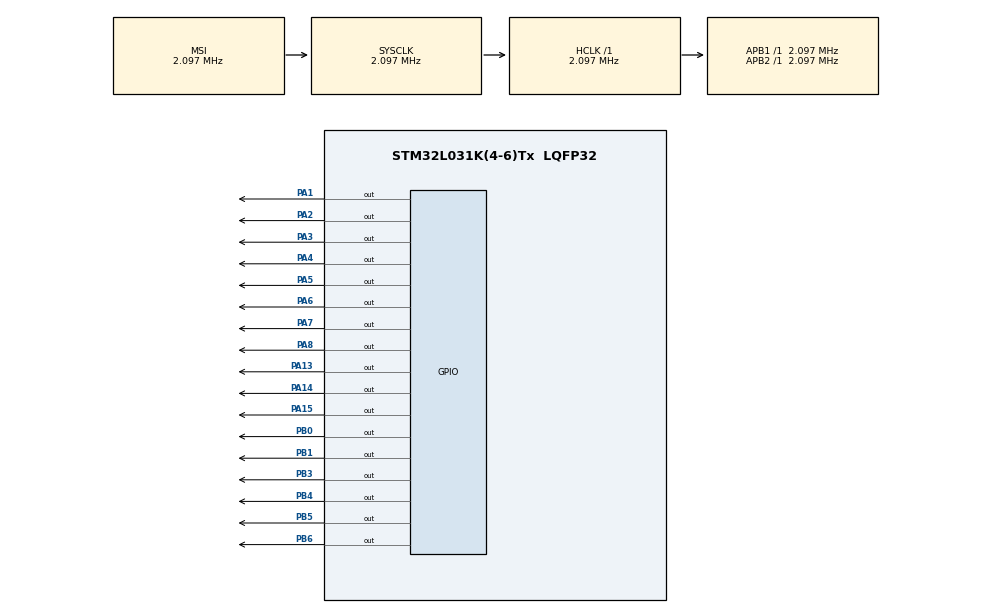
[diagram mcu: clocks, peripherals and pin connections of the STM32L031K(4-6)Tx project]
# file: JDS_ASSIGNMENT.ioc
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Mcu.Family=STM32L0
Mcu.Name=STM32L031K(4-6)Tx
Mcu.Package=LQFP32
PA1.Signal=GPIO_Output
PA13.Signal=GPIO_Output
PA14.Signal=GPIO_Output
PA15.Signal=GPIO_Output
PA2.Signal=GPIO_Output
PA3.Signal=GPIO_Output
PA4.Signal=GPIO_Output
PA5.Signal=GPIO_Output
PA6.Signal=GPIO_Output
PA7.Signal=GPIO_Output
PA8.Signal=GPIO_Output
PB0.Signal=GPIO_Output
PB1.Signal=GPIO_Output
PB3.Signal=GPIO_Output
PB4.Signal=GPIO_Output
PB5.Signal=GPIO_Output
PB6.Signal=GPIO_Output
ProjectManager.HeapSize=0x200
ProjectManager.StackSize=0x400
ProjectManager.TargetToolchain=STM32CubeIDE
RCC.AHBFreq_Value=2097000
RCC.APB1Freq_Value=2097000
RCC.APB1TimFreq_Value=2097000
RCC.APB2Freq_Value=2097000
RCC.APB2TimFreq_Value=2097000
RCC.HSE_VALUE=8000000
RCC.HSI16_VALUE=16000000
RCC.HSI_VALUE=16000000
RCC.LSE_VALUE=32768
RCC.MSI_VALUE=2097000
RCC.SYSCLKFreq_VALUE=2097000
RCC.VCOOutputFreq_Value=48000000
board=custom

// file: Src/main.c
/* USER CODE BEGIN Header */
/**
  ******************************************************************************
  * @file           : main.c
  * @brief          : Main program body
  ******************************************************************************
  * @attention
  *
  * Copyright (c) 2024 STMicroelectronics.
  * All rights reserved.
  *
  * This software is licensed under terms that can be found in the LICENSE file
  * in the root directory of this software component.
  * If no LICENSE file comes with this software, it is provided AS-IS.
  *
  ******************************************************************************
  */
/* USER CODE END Header */
#include "main.h"
#include "gpio.h"

// NAND Flash Command Definitions (based on datasheet)
#define NAND_CMD_READ1  0x00
#define NAND_CMD_READ2  0x30
#define NAND_CMD_PROGRAM1 0x80
#define NAND_CMD_PROGRAM2 0x10
#define NAND_CMD_ERASE1 0x60
#define NAND_CMD_ERASE2 0xD0
#define NAND_CMD_STATUS 0x70
#define NAND_CMD_RESET  0xFF

// NAND Control Pins
#define CLE_PIN GPIO_PIN_0  // Command Latch Enable
#define ALE_PIN GPIO_PIN_1  // Address Latch Enable
#define WE_PIN  GPIO_PIN_3  // Write Enable
#define RE_PIN  GPIO_PIN_4  // Read Enable
#define CE_PIN  GPIO_PIN_5  // Chip Enable
#define RYBY_PIN GPIO_PIN_6 // Ready/Busy

#define NAND_GPIO GPIOB // GPIO Port for control pins
#define NAND_DATA_PORT GPIOA // GPIO Port for data I/O
void SystemClock_Config(void);
/* USER CODE BEGIN PFP */
void NAND_Init(void);
void NAND_WriteCommand(uint8_t cmd);
void NAND_WriteAddress(uint8_t addr);
void NAND_WriteData(uint8_t data);
uint8_t NAND_ReadData(void);
void NAND_WaitUntilReady(void);
void NAND_ReadPage(uint32_t pageAddr, uint8_t *buffer);
void NAND_WritePage(uint32_t pageAddr, uint8_t *buffer);

int main(void)
{
  HAL_Init();
  SystemClock_Config();
  MX_GPIO_Init();
  /* USER CODE BEGIN 2 */
  NAND_Init();

  uint8_t writeData[4224] = {0xAA}; // Example data
  uint8_t readData[4224] = {0};
  // Write Example
  NAND_WritePage(0x000000, writeData);
  //Read Example
  NAND_ReadPage(0x000000, readData);
  while (1)
  {
    /* USER CODE END WHILE */

  }
}

void SystemClock_Config(void)
{
  RCC_OscInitTypeDef RCC_OscInitStruct = {0};
  RCC_ClkInitTypeDef RCC_ClkInitStruct = {0};

  /** Configure the main internal regulator output voltage
  */
  __HAL_PWR_VOLTAGESCALING_CONFIG(PWR_REGULATOR_VOLTAGE_SCALE1);

  /** Initializes the RCC Oscillators according to the specified parameters
  * in the RCC_OscInitTypeDef structure.
  */
  RCC_OscInitStruct.OscillatorType = RCC_OSCILLATORTYPE_MSI;
  RCC_OscInitStruct.MSIState = RCC_MSI_ON;
  RCC_OscInitStruct.MSICalibrationValue = 0;
  RCC_OscInitStruct.MSIClockRange = RCC_MSIRANGE_5;
  RCC_OscInitStruct.PLL.PLLState = RCC_PLL_NONE;
  if (HAL_RCC_OscConfig(&RCC_OscInitStruct) != HAL_OK)
  {
    Error_Handler();
  }

  /** Initializes the CPU, AHB and APB buses clocks
  */
  RCC_ClkInitStruct.ClockType = RCC_CLOCKTYPE_HCLK|RCC_CLOCKTYPE_SYSCLK
                              |RCC_CLOCKTYPE_PCLK1|RCC_CLOCKTYPE_PCLK2;
  RCC_ClkInitStruct.SYSCLKSource = RCC_SYSCLKSOURCE_MSI;
  RCC_ClkInitStruct.AHBCLKDivider = RCC_SYSCLK_DIV1;
  RCC_ClkInitStruct.APB1CLKDivider = RCC_HCLK_DIV1;
  RCC_ClkInitStruct.APB2CLKDivider = RCC_HCLK_DIV1;

  if (HAL_RCC_ClockConfig(&RCC_ClkInitStruct, FLASH_LATENCY_0) != HAL_OK)
  {
    Error_Handler();
  }
}

/* USER CODE BEGIN 4 */

// Initialize GPIO pins for NAND Flash communication
void NAND_Init(void) {
    HAL_GPIO_WritePin(NAND_GPIO, CLE_PIN | ALE_PIN | WE_PIN | RE_PIN | CE_PIN, GPIO_PIN_SET);
}

// Send a command to NAND Flash
void NAND_WriteCommand(uint8_t cmd) {
    HAL_GPIO_WritePin(NAND_GPIO, CLE_PIN, GPIO_PIN_SET); // Enable CLE
    HAL_GPIO_WritePin(NAND_GPIO, ALE_PIN, GPIO_PIN_RESET); // Disable ALE

    *(volatile uint8_t *)&NAND_DATA_PORT->ODR = cmd; // Output command to data pins
    HAL_GPIO_WritePin(NAND_GPIO, WE_PIN, GPIO_PIN_RESET); // Pulse WE low
    HAL_GPIO_WritePin(NAND_GPIO, WE_PIN, GPIO_PIN_SET);

    HAL_GPIO_WritePin(NAND_GPIO, CLE_PIN, GPIO_PIN_RESET); // Disable CLE
}

// Send an address to NAND Flash
void NAND_WriteAddress(uint8_t addr) {
    HAL_GPIO_WritePin(NAND_GPIO, CLE_PIN, GPIO_PIN_RESET); // Disable CLE
    HAL_GPIO_WritePin(NAND_GPIO, ALE_PIN, GPIO_PIN_SET); // Enable ALE

    *(volatile uint8_t *)&NAND_DATA_PORT->ODR = addr; // Output address to data pins
    HAL_GPIO_WritePin(NAND_GPIO, WE_PIN, GPIO_PIN_RESET); // Pulse WE low
    HAL_GPIO_WritePin(NAND_GPIO, WE_PIN, GPIO_PIN_SET);

    HAL_GPIO_WritePin(NAND_GPIO, ALE_PIN, GPIO_PIN_RESET); // Disable ALE
}

// Write data to NAND Flash
void NAND_WriteData(uint8_t data) {
    *(volatile uint8_t *)&NAND_DATA_PORT->ODR = data; // Output data to data pins
    HAL_GPIO_WritePin(NAND_GPIO, WE_PIN, GPIO_PIN_RESET); // Pulse WE low
    HAL_GPIO_WritePin(NAND_GPIO, WE_PIN, GPIO_PIN_SET);
}

// Read data from NAND Flash
uint8_t NAND_ReadData(void) {
    HAL_GPIO_WritePin(NAND_GPIO, RE_PIN, GPIO_PIN_RESET); // Pulse RE low
    uint8_t data = *(volatile uint8_t *)&NAND_DATA_PORT->IDR; // Read data from data pins
    HAL_GPIO_WritePin(NAND_GPIO, RE_PIN, GPIO_PIN_SET);

    return data;
}

// Wait until NAND Flash is ready (RY/BY pin high)
void NAND_WaitUntilReady(void) {
    while (HAL_GPIO_ReadPin(NAND_GPIO, RYBY_PIN) == GPIO_PIN_RESET);
}

// Read a page from NAND Flash
void NAND_ReadPage(uint32_t pageAddr, uint8_t *buffer) {
    // Send READ command
    NAND_WriteCommand(NAND_CMD_READ1);

    NAND_WriteAddress((pageAddr >> 0) & 0xFF);
    NAND_WriteAddress((pageAddr >> 8) & 0xFF);
    NAND_WriteAddress((pageAddr >> 16) & 0xFF);
    NAND_WriteAddress(0x00); // Dummy cycles for column
    NAND_WriteAddress(0x00);

    // Confirm Read
    NAND_WriteCommand(NAND_CMD_READ2);

    // Wait until NAND is ready
    NAND_WaitUntilReady();

    // Read data from NAND
    for (int i = 0; i < 4224; i++) {
        buffer[i] = NAND_ReadData();
    }
}

// Write a page to NAND Flash
void NAND_WritePage(uint32_t pageAddr, uint8_t *buffer) {
    // Send PROGRAM command
    NAND_WriteCommand(NAND_CMD_PROGRAM1);

    // Send page address (5 cycles)
    NAND_WriteAddress((pageAddr >> 0) & 0xFF);
    NAND_WriteAddress((pageAddr >> 8) & 0xFF);
    NAND_WriteAddress((pageAddr >> 16) & 0xFF);
    NAND_WriteAddress(0x00); // Dummy cycles for column
    NAND_WriteAddress(0x00);

    // Write data to NAND
    for (int i = 0; i < 4224; i++) {
        NAND_WriteData(buffer[i]);
    }

    // Confirm Write
    NAND_WriteCommand(NAND_CMD_PROGRAM2);

    // Wait until NAND is ready
    NAND_WaitUntilReady();
}

/* USER CODE END 4 */

void Error_Handler(void)
{
  __disable_irq();
  while (1)
  {
  }
}
